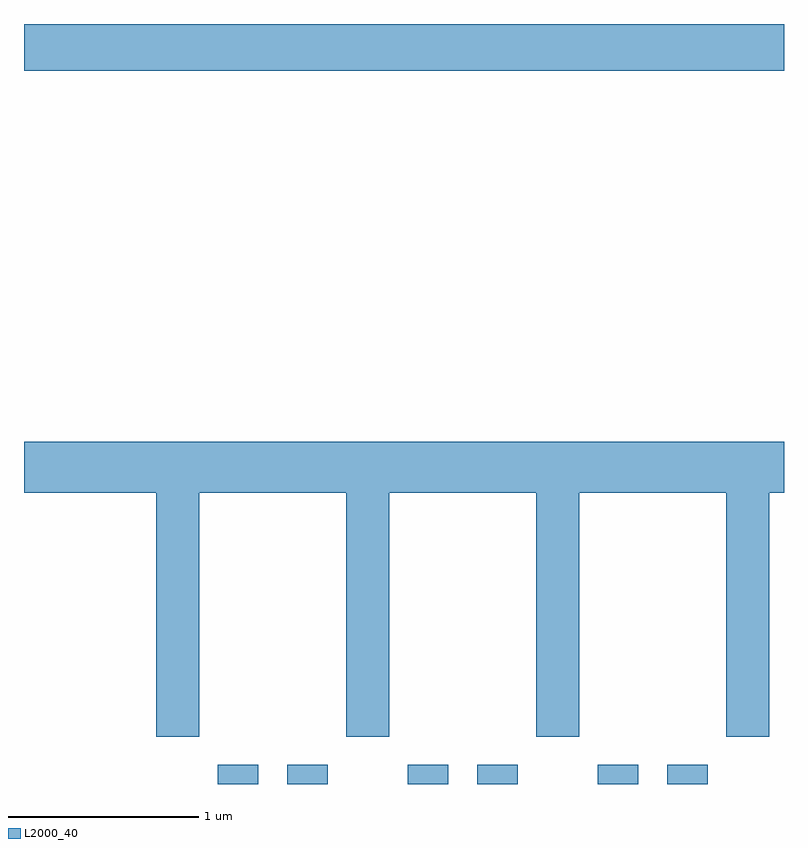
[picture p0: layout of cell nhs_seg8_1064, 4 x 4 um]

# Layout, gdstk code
import gdstk
lib = gdstk.Library(unit=1e-6, precision=1e-09)
def R(c, l, rs):  # rectangles x0, y0, x1, y1
    for r in rs: c.add(gdstk.rectangle(r[:2], r[2:], *l))
def P(c, l, *ps):  # polygons
    for p in ps: c.add(gdstk.Polygon(p, *l))
L2000_40 = (2000, 40)

nhs_seg8_1064 = lib.new_cell('nhs_seg8_1064')
R(nhs_seg8_1064, L2000_40, [(216.631,1930.342,216.844,1930.444), (216.996,1930.342,217.209,1930.444), (217.631,1930.342,217.844,1930.444), (217.996,1930.342,218.209,1930.444), (218.631,1930.342,218.844,1930.444), (218.996,1930.342,219.209,1930.444), (215.611,1934.096,219.611,1934.342)])
P(nhs_seg8_1064, L2000_40, [(216.534,1931.876),(217.306,1931.876),(217.306,1930.591),(217.534,1930.591),(217.534,1931.876),(218.306,1931.876),(218.306,1930.591),(218.534,1930.591),(218.534,1931.876),(219.306,1931.876),(219.306,1930.591),(219.534,1930.591),(219.534,1931.876),(219.611,1931.876),(219.611,1932.144),(215.611,1932.144),(215.611,1931.876),(216.306,1931.876),(216.306,1930.591),(216.534,1930.591)])

lib.write_gds('nhs_seg8_1064.gds')
